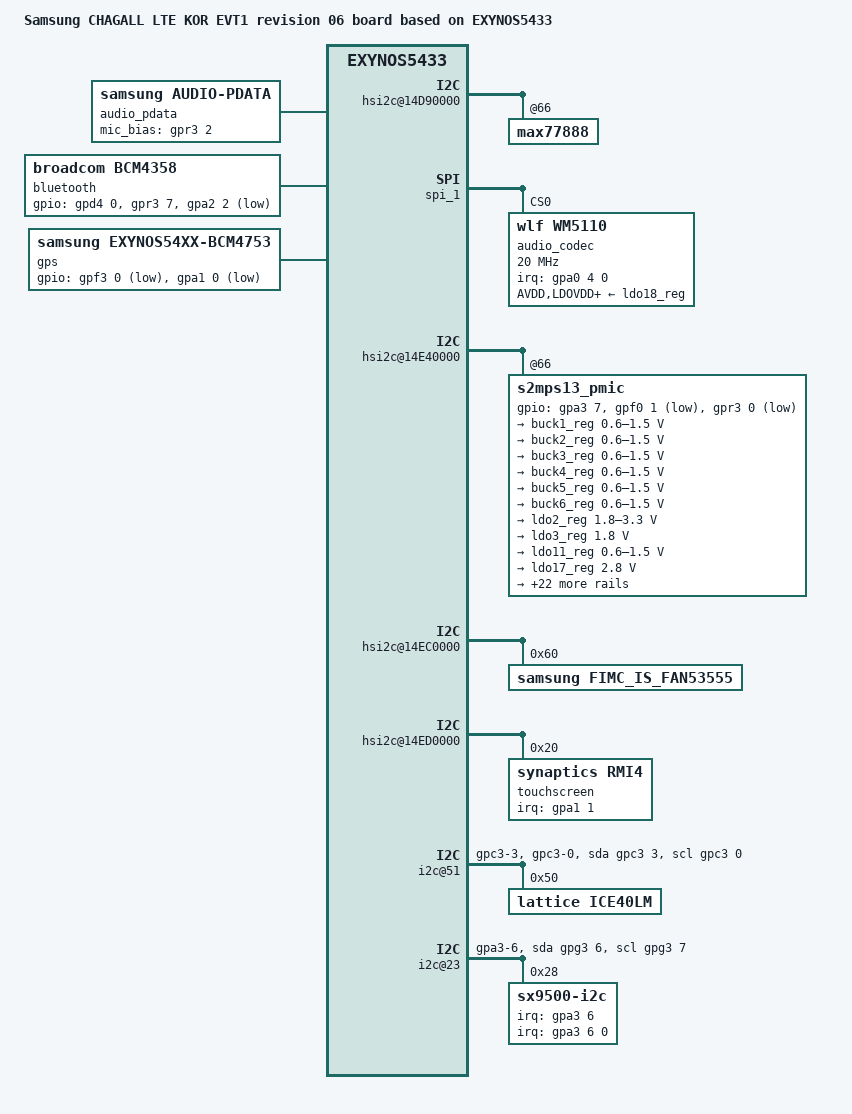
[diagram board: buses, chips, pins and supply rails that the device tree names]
/*
 * SAMSUNG UNIVERSAL5433 board device tree source
 *
 * Copyright (c) 2013 Samsung Electronics Co., Ltd.
 *		http://www.samsung.com
 *
 * This program is free software; you can redistribute it and/or modify
 * it under the terms of the GNU General Public License version 2 as
 * published by the Free Software Foundation.
*/
/dts-v1/;
#include "exynos5433-chagallhlte_common.dtsi"
#include "exynos5433-chagallhlte_battery.dtsi"
#include "exynos5433-chagallhlte_mhl2x.dtsi"
#include "exynos5433-chagallhlte_kor_gpio_06.dtsi"
#include "exynos5433-chagallhlte_kor-modem-ss300_00.dtsi"
#include "exynos5433-chagallhlte_fingerprint-sensor_00.dtsi"

/ {
	model = "Samsung CHAGALL LTE KOR EVT1 revision 06 board based on EXYNOS5433";
	model_info-chip = <5433>;
	model_info-platform = "trlte";
	model_info-subtype = "trlte_kor_open";
	model_info-hw_rev = <6>;
	model_info-hw_rev_end = <255>;
	compatible = "samsung,CHAGALL LTE EVT1 KOR,r06", "samsung,exynos5433";

	hsi2c@14D90000 {
		status = "okay";
		max77888@66 {
			status = "okay";
		};
	};

	spi_1: spi@14d30000 {
		/delete-property/ dma-mode;
		/delete-property/ dmas;
		/delete-property/ dma-names;
		#address-cells = <1>;
		#size-cells = <0>;
		pinctrl-names = "default";
		pinctrl-0 = <&spi1_bus>;

		audio_codec: wm5110@0 {
			compatible = "wlf,wm5110";
			reg = <0x0>;
			spi-max-frequency = <20000000>;
			interrupts = <4 0 0>;
			interrupt-parent = <&gpa0>;

			gpio-controller;
			#gpio-cells = <2>;

			pinctrl-names ="default";
			pinctrl-0 = <&codec_reset &codec_ldoena &audio_ctrl &codec_irq>;

			wlf,reset = <&gpc0 7 0>;
			wlf,ldoena = <&gpf0 0 0>;
			wlf,init-mic-delay = <30>;
			wlf,micd-detect-debounce = <300>;
			wlf,micd-pol-gpio = <0>;
			wlf,micd-bias-start-time = <0x1>;
			wlf,micd-rate = <0x7>;
			wlf,micd-dbtime = <0x1>;
			wlf,micd-timeout = <1000>;
			wlf,micd-force-micbias;
			wlf,hpdet-moisture-imp = <2000>;
			wlf,hpdet-channel = <1>;
			wlf,hpdet-ext-res = <56>;
			wlf,hpdet-short-circuit-imp = <3>;
			wlf,micd-ranges = <
				139 226
				295 115
				752 114
				1257 217
			>;

			wlf,micd-configs = <
				0x0 1 0
			>;

			wlf,micbias1 = <2800 0 1 0 0>;
			wlf,micbias2 = <1800 0 1 0 0>;
			wlf,micbias3 = <1800 0 1 0 0>;

			wlf,gpio-defaults = <
				0xA101
				0xA101
				0xA101
				0xA101
				0x8101
			>;

			wlf,gpsw = <0x3>;
			wlf,use-jd-gpio;
			wlf,jd-gpio-nopull;
			wlf,micd-software-compare;
			wlf,micd-open-circuit-declare = <1>;
			wlf,jd-wake-time = <5000>;

			wlf,max-channels-clocked = <2 0 0>;
			/* 0:MICVDD 1:MICBIAS1 2:MICBIAS2 3:MICBIAS3 */
			wlf,dmic-ref = <0 1 3 0>;
			/* 1st cell:IN1 2rd cell:IN2 3nd cell:IN3 4th cell:IN4 */
			wlf,inmode = <0 0 0 0>;
			/* 1st cell:OUT1 2nd cell:OUT2 3rd cell:OUT3... 6th cell:OUT6 */
			wlf,out-mono = <0 0 1 0 0 0>;

			AVDD-supply = <&ldo18_reg>;
			LDOVDD-supply = <&ldo18_reg>;
			DBVDD1-supply = <&ldo18_reg>;

			CPVDD-supply = <&ldo18_reg>;
			DBVDD2-supply = <&ldo18_reg>;
			DBVDD3-supply = <&ldo18_reg>;
			SPKVDDL-supply = <&ldo18_reg>;
			SPKVDDR-supply = <&ldo18_reg>;

			adsps {
				#address-cells = <1>;
				#size-cells = <0>;

				adsp@1100 {
					reg = <0x1100>;
					firmware {
						EDAC {
							wlf,wmfw-file = "edac";
							wlf,bin-file = "edac";
						};
						TRACE {
							wlf,wmfw-file = "trace";
							wlf,bin-file = "None";
							wlf,compr-caps = <1 8 0x4 1 8000 16000 24000>;
						};
					};
				};
				adsp@1200 {
					reg = <0x1200>;
					firmware {
						TX_NB {
							wlf,wmfw-file = "tx-nb";
							wlf,bin-file = "None";
						};
						TX_WB {
							wlf,wmfw-file = "tx-wb";
							wlf,bin-file = "None";
						};
						TX_SWB_INTERVIEW {
							wlf,wmfw-file = "tx-swb";
							wlf,bin-file = "None";
						};
						TX_SWB_CONVERSATION {
							wlf,wmfw-file = "tx-swb";
							wlf,bin-file = "None";
						};
						TX_FB_MEETING {
							wlf,wmfw-file = "tx-fb-meeting";
							wlf,bin-file = "tx-fb-meeting";
						};
					};
				};
				adsp@1300 {
					reg = <0x1300>;
					firmware {
						TX_NB {
							wlf,wmfw-file = "tx-nb";
							wlf,bin-file = "tx-nb";
						};
						TX_WB {
							wlf,wmfw-file = "tx-wb";
							wlf,bin-file = "tx-wb";
						};
						TX_SWB_INTERVIEW {
							wlf,wmfw-file = "tx-swb";
							wlf,bin-file = "tx-swb-interview";
						};
						TX_SWB_CONVERSATION {
							wlf,wmfw-file = "tx-swb";
							wlf,bin-file = "tx-swb-conversation";
						};
						TX_WB_MEETING {
							wlf,wmfw-file = "tx-wb-meeting";
							wlf,bin-file = "tx-wb-meeting";
						};

						VOICECONTROL {
							wlf,wmfw-file = "ez2-control";
							wlf,bin-file = "ez2-control";
							wlf,compr-caps = <1 1 0x4 1 16000>;
						};
						LPSD {
							wlf,wmfw-file = "ez2-control";
							wlf,bin-file = "lpsd-control";
						};
					};
				};
				adsp@1400 {
					reg = <0x1400>;
					firmware {
						DSM {
							wlf,wmfw-file = "dsm";
							wlf,bin-file = "None";
						};
						RX_NB {
							wlf,wmfw-file = "rx-anc-nb";
							wlf,bin-file = "rx-anc-nb";
						};
						RX_WB {
							wlf,wmfw-file = "rx-anc-wb";
							wlf,bin-file = "rx-anc-wb";
						};
					};
				};
			};
			controller-data {
				cs-gpio = <&gpd6 3 0>;
				samsung,spi-feedback-delay = <0>;
			};
		};
	};

	audio_pdata {
		compatible = "samsung,audio-pdata";

		mic_bias_gpio = <&gpr3 2 0>;
		status = "okay";
	};

	pinctrl@11090000 {
		codec_ldoena: codec-ldoena {
			samsung,pins ="gpf0-0";
			samsung,pin-con-pdn =<3>;
		};
	};

	pinctrl@14CC0000 {
		codec_reset: codec-reset {
			samsung,pins ="gpc0-7";
			samsung,pin-function = <1>;
			samsung,pin-pud = <1>;
			samsung,pin-con-pdn =<3>;
			samsung,pin-pud-pdn = <1>;
		};
		audio_ctrl: audio-ctl {
			samsung,pins ="gpr3-2";
			samsung,pin-con-pdn =<3>;
		};
	};

	pinctrl@10580000 {
		codec_irq: codec-irq {
			samsung,pins = "gpa0-4";
			samsung,pin-pud = <0>;
		};
	};

	pinctrl@114B0000 {
		uart_aud_rts: uart-aud-rts {
			samsung,pins = "gpz1-3";
			samsung,pin-function = <2>;
			samsung,pin-pud = <0>;
			samsung,pin-con-pdn = <1>;
			samsung,pin-pud-pdn = <0>;
		};

		uart_aud_cts: uart-aud-cts {
			samsung,pins = "gpz1-2";
			samsung,pin-function = <2>;
			samsung,pin-pud = <0>;
			samsung,pin-con-pdn = <2>;
			samsung,pin-pud-pdn = <0>;
		};

		uart_aud_rx: uart-aud-rx {
			samsung,pins = "gpz1-1";
			samsung,pin-function = <2>;
			samsung,pin-pud = <0>;
			samsung,pin-con-pdn = <2>;
			samsung,pin-pud-pdn = <0>;
		};

		uart_aud_tx: uart-aud-tx {
			samsung,pins = "gpz1-0";
			samsung,pin-function = <2>;
			samsung,pin-pud = <0>;
			samsung,pin-con-pdn = <1>;
			samsung,pin-pud-pdn = <0>;
		};
	};

	serial@11460000 {
		pinctrl-0 = <&uart_aud_rts &uart_aud_cts &uart_aud_rx &uart_aud_tx>;
		pinctrl-1 = <&uart_aud_rx &uart_aud_tx &uart_aud_bus_idle>;
	};

	pinctrl@14CC0000 {
		cfg_en: cfg-en {
			samsung,pins ="gpd4-0";
			samsung,pin-function = <1>;
			samsung,pin-pud = <1>;
			samsung,pin-con-pdn = <3>;
			samsung,pin-pud-pdn = <1>;
		};
	};

	pinctrl@10580000{
		cfg_hostwake: cfg-hostwake {
			samsung,pins = "gpa2-2";
			samsung,pin-function = <0>;
			samsung,pin-pud = <0>;
			samsung,pin-con-pdn = <2>;
			samsung,pin-pud-pdn = <0>;
		};
	};

	pinctrl@15690000{
		cfg_btwake: cfg-btwake {
			samsung,pins = "gpr3-7";
			samsung,pin-function = <1>;
			samsung,pin-pud = <0>;
			samsung,pin-con-pdn = <0>;
			samsung,pin-pud-pdn = <1>;
		};
	};

	bluetooth {
		compatible = "broadcom,bcm4358";

		gpios = <&gpd4 0 0	/*BT_EN*/
				&gpr3 7 0	/*BT_WAKE*/
				&gpa2 2 0xF	/*BT_HOST_WAKE*/ >;

		pinctrl-names = "default";
		pinctrl-0=<&cfg_hostwake &cfg_btwake &cfg_en>;
		status = "okay";
	};

	pinctrl@14CC0000 {
		hs_i2c2_bus: hs-i2c2-bus {
			/delete-property/samsung,pins;
			/delete-property/samsung,pin-function;
			/delete-property/samsung,pin-pud;
			/delete-property/samsung,pin-drv;
		};

		uart0_rts: uart0-rts {
			samsung,pins = "gpd0-3";
			samsung,pin-function = <2>;
			samsung,pin-pud = <0>;
			samsung,pin-con-pdn = <1>;
			samsung,pin-pud-pdn = <0>;
		};

		uart0_cts: uart0-cts {
			samsung,pins = "gpd0-2";
			samsung,pin-function = <2>;
			samsung,pin-pud = <0>;
			samsung,pin-con-pdn = <2>;
			samsung,pin-pud-pdn = <1>;
		};

		uart0_tx: uart0-tx {
			samsung,pins = "gpd0-1";
			samsung,pin-function = <2>;
			samsung,pin-pud = <0>;
			samsung,pin-con-pdn = <2>;
			samsung,pin-pud-pdn = <3>;
		};

		uart0_rx: uart0-rx {
			samsung,pins = "gpd0-0";
			samsung,pin-function = <2>;
			samsung,pin-pud = <3>;
			samsung,pin-con-pdn = <2>;
			samsung,pin-pud-pdn = <3>;
		};
	};

	serial@14C10000 {
		pinctrl-0 = <&uart0_rts &uart0_cts &uart0_tx &uart0_rx>;
	};

	gps {
		compatible = "samsung,exynos54xx-bcm4753";
		gpios = <&gpf3 0 0x1
				&gpa1 0 0xf
				>;
		status = "okay";
	};

	pinctrl@15690000 {
		pm_dvs_en: pm-dvs-en {
			samsung,pins = "gpr3-0";
			samsung,pin-pud = <0>;
		};
	};

	pinctrl@11090000 {
		pm_g3d_en: pm-g3d-en {
			samsung,pins = "gpf0-1";
			samsung,pin-pud = <3>;
		};
	};

	hsi2c@14E40000 {
		s2mps13_pmic@66 {
			pinctrl-names = "default";
			pinctrl-0 = <&pm_g3d_en &pm_dvs_en &pmic_irq &pm_wrsti &gpa3_pull_up>;
			gpios = <&gpa3 7 0>, <&gpf0 1 0x1>, <&gpr3 0 0x1>;
			g3d_en = <1>; /* 1 : enable , 0 : disable */
			regulators {
				buck1_reg: BUCK1 {
					regulator-name = "vdd_mif";
					regulator-min-microvolt = <600000>;
					regulator-max-microvolt = <1500000>;
					regulator-always-on;
					regulator-boot-on;
					regulator-ramp-delay = <12000>;
					regulator-initial-mode = <1>;
				};

				buck2_reg: BUCK2 {
					regulator-name = "vdd_eagle";
					regulator-min-microvolt = <600000>;
					regulator-max-microvolt = <1500000>;
					regulator-always-on;
					regulator-boot-on;
					regulator-ramp-delay = <12000>;
					regulator-initial-mode = <1>;
				};

				buck3_reg: BUCK3 {
					regulator-name = "vdd_kfc";
					regulator-min-microvolt = <600000>;
					regulator-max-microvolt = <1500000>;
					regulator-always-on;
					regulator-boot-on;
					regulator-ramp-delay = <12000>;
					regulator-initial-mode = <1>;
				};

				buck4_reg: BUCK4 {
					regulator-name = "vdd_int";
					regulator-min-microvolt = <600000>;
					regulator-max-microvolt = <1500000>;
					regulator-always-on;
					regulator-boot-on;
					regulator-ramp-delay = <12000>;
					regulator-initial-mode = <1>;
				};

				buck5_reg: BUCK5 {
					regulator-name = "vdd_disp_cam0";
					regulator-min-microvolt = <600000>;
					regulator-max-microvolt = <1500000>;
					regulator-always-on;
					regulator-boot-on;
					regulator-ramp-delay = <12000>;
					regulator-initial-mode = <1>;
				};

				buck6_reg: BUCK6 {
					regulator-name = "vdd_g3d";
					regulator-min-microvolt = <600000>;
					regulator-max-microvolt = <1500000>;
					regulator-always-on;
					regulator-boot-on;
					regulator-ramp-delay = <12000>;
					regulator-initial-mode = <1>;
				};

				ldo2_reg: LDO2 {
					regulator-name = "vqmmc";
					regulator-min-microvolt = <1800000>;
					regulator-max-microvolt = <3300000>;
					regulator-boot-on;
					regulator-ramp-delay = <12000>;
					regulator-initial-mode = <1>;
				};

				ldo3_reg: LDO3 {
					regulator-name = "VDD1_E_1.8V_AP";
					regulator-min-microvolt = <1800000>;
					regulator-max-microvolt = <1800000>;
					regulator-always-on;
				};

				ldo11_reg: LDO11 {
					regulator-name = "vdd_int_m";
					regulator-min-microvolt = <600000>;
					regulator-max-microvolt = <1500000>;
					regulator-always-on;
					regulator-boot-on;
					regulator-ramp-delay = <12000>;
					regulator-initial-mode = <1>;
				};

				ldo17_reg: LDO17 {
					regulator-name = "vmmc";
 					regulator-min-microvolt = <2800000>;
 					regulator-max-microvolt = <2800000>;
 				};

				ldo18_reg: LDO18 {
					regulator-name = "V_CODEC_1.8V_AP";
					regulator-min-microvolt = <1800000>;
					regulator-max-microvolt = <1800000>;
					regulator-always-on;
					regulator-initial-mode = <3>;
				};

				ldo19_reg: LDO19 {
					regulator-name = "VCC_1.8V_LCD_AP";
					regulator-min-microvolt = <1800000>;
					regulator-max-microvolt = <1800000>;
				};

				ldo20_reg: LDO20 {
					regulator-name = "VCC_2.8V_PERI";
					regulator-min-microvolt = <2800000>;
					regulator-max-microvolt = <2800000>;
					regulator-always-on;
					regulator-initial-mode = <3>;
				};

				ldo21_reg: LDO21 {
					regulator-name = "VT_CAM_1.8V";
					regulator-min-microvolt = <1800000>;
					regulator-max-microvolt = <1800000>;
				};

				ldo22_reg: LDO22 {
					regulator-name = "CAM_IO_1.8V_AP";
					regulator-min-microvolt = <1800000>;
					regulator-max-microvolt = <1800000>;
				};

				ldo23_reg: LDO23 {
					regulator-name = "CAM_SEN_CORE_1.2V_AP";
					regulator-min-microvolt = <1100000>;
					regulator-max-microvolt = <1100000>;
				};

				ldo24_reg: LDO24 {
					regulator-name = "VT_CAM_1.2V";
					regulator-min-microvolt = <1200000>;
					regulator-max-microvolt = <1200000>;
				};

				ldo25_reg: LDO25 {
					regulator-name = "CAM_SEN_A2.8V_AP";
					regulator-min-microvolt = <2800000>;
					regulator-max-microvolt = <2950000>;
				};

				ldo26_reg: LDO26 {
					regulator-name = "CAM_AF_2.8V_AP";
					regulator-min-microvolt = <2800000>;
					regulator-max-microvolt = <2800000>;
				};

				ldo27_reg: LDO27 {
					regulator-name = "VCC_3.0V_LCD_AP";
					regulator-min-microvolt = <3000000>;
					regulator-max-microvolt = <3000000>;
					regulator-boot-on;
				};

				ldo28_reg: LDO28 {
					regulator-name = "VCC_1.8V_COMP";
					regulator-min-microvolt = <1800000>;
					regulator-max-microvolt = <1800000>;
					regulator-always-on;
				};

				ldo29_reg: LDO29 {
					regulator-name = "VT_CAM_2.8V";
					regulator-min-microvolt = <2800000>;
					regulator-max-microvolt = <2800000>;
				};

				ldo30_reg: LDO30 {
					regulator-name = "tsp_avdd";
					regulator-min-microvolt = <3300000>;
					regulator-max-microvolt = <3300000>;
					regulator-boot-on;
				};

				ldo31_reg: LDO31 {
					regulator-name = "tsp_io";
					regulator-min-microvolt = <1850000>;
					regulator-max-microvolt = <1850000>;
					regulator-boot-on;
				};

				ldo32_reg: LDO32 {
					regulator-name = "vtouch_1.8v";
					regulator-min-microvolt = <1800000>;
					regulator-max-microvolt = <1800000>;
					regulator-boot-on;
				};

				ldo33_reg: LDO33 {
					regulator-name = "vtouch_3.3v";
					regulator-min-microvolt = <3300000>;
					regulator-max-microvolt = <3300000>;
					regulator-boot-on;
				};

				ldo34_reg: LDO34 {
					regulator-name = "VCC_1.8V_MHL";
					regulator-min-microvolt = <1800000>;
					regulator-max-microvolt = <1800000>;
				};

				ldo35_reg: LDO35 {
					regulator-name = "OIS_VM_2.8V";
					regulator-min-microvolt = <2800000>;
					regulator-max-microvolt = <2800000>;
				};

				ldo36_reg: LDO36 {
					regulator-name = "VSIL_1.2V";
					regulator-min-microvolt = <1200000>;
					regulator-max-microvolt = <1200000>;
				};

				ldo38_reg: LDO38 {
					regulator-name = "VCC_3.0V_MOTOR_AP";
					regulator-min-microvolt = <3000000>;
					regulator-max-microvolt = <3000000>;
				};

				ldo39_reg: LDO39 {
					regulator-name = "VCC_1.8V_PERI";
					regulator-min-microvolt = <1800000>;
					regulator-max-microvolt = <1800000>;
					regulator-always-on;
					regulator-initial-mode = <3>;
				};

				ldo40_reg: LDO40 {
					regulator-name = "V_IRLED_3.3V";
					regulator-min-microvolt = <3300000>;
					regulator-max-microvolt = <3350000>;
				};
			};
		};
	};

	hsi2c@14EC0000 {
		fimc_is_fan53555@60 {
			compatible = "samsung,fimc_is_fan53555";
			reg = <0x60>;
			comp_en = <&gpf1 7 0x01>;
			status = "okay";
		};
		ncp6335b@1c {
			status = "disabled";
		};
	};

	pinctrl@14CC0000 {
		vibetonz_pwm: vibetonz-pwm {
		      samsung,pins = "gpd2-4";
		      samsung,pin-function = <2>;
		      samsung,pin-pud = <0>;
		      samsung,pin-drv = <0>;
		};
	};

	dwmmc1@15550000 {
		status = "disabled";
	};

	pinctrl@10580000 {
		attn_irq: attn-irq {
			samsung,pins = "gpa1-1";
			samsung,pin-function = <0xf>;
			samsung,pin-pud = <0>;
			samsung,pin-drv = <0>;
		};

		attn_input: attn-input {
			samsung,pins = "gpa1-1";
			samsung,pin-function = <0>;
			samsung,pin-pud = <1>;
			samsung,pin-drv = <0>;
		};
	};

	hsi2c@14ED0000 {
		samsung,i2c-sda-delay = <100>;
		samsung,i2c-max-bus-freq = <400000>;
		status = "okay";
		touchscreen@20 {
			compatible = "synaptics,rmi4";
			reg = <0x20>;
			pinctrl-names = "on_state", "off_state";
			pinctrl-0 = <&attn_irq>;
			pinctrl-1 = <&attn_input>;
			synaptics,irq_gpio = <&gpa1 1 0>;
			synaptics,irq_type = <8200>;
			synaptics,max_coords = <2559 1599>;	/* x y */
			synaptics,num_lines = <57 36>;		/* rx tx */
			synaptics,x_flip = <1>;
			synaptics,y_flip = <1>;
			synaptics,regulator_dvdd = "tsp_io";
			synaptics,regulator_avdd = "tsp_avdd";
			synaptics,project_name = "CHAGALL","T805S";
			synaptics,panel_revision = <1>;
			synaptics,firmware_name = "tsp_synaptics/synaptics_5710_chagall.fw";
		};
	};

	pinctrl@14CC0000 {
		irda_sda: fpga_sda {
			samsung,pins = "gpc3-3";
			samsung,pin-funtion = <0>;
			samsung,pin-pud = <0>;
		};
		irda_scl: fpga_scl {
			samsung,pins = "gpc3-0";
			samsung,pin-funtion = <0>;
			samsung,pin-pud = <0>;
		};
	};

	pinctrl@14CB0000 {
		spi2_bus: spi2-bus {
			samsung,pins = "gpd5-0", "gpd5-2", "gpd5-3";
			samsung,pin-function = <2>;
			samsung,pin-pud = <3>;
			samsung,pin-drv = <1>;
		};
	};

	i2c@51 {
		compatible = "i2c-gpio";
		gpios = <&gpc3 3 0 /* sda */
			&gpc3 0 0 /* scl */
			>;
		i2c-gpio,delay-us = <2>;
		#address-cells = <1>;
		#size-cells = <0>;
		status = "okay";
		pinctrl-names = "default";
		pinctrl-0 = <&irda_sda &irda_scl>;
		ice40lm@50 {
			compatible = "lattice,ice40lm";
			reg = <0x50>;
			ice40lm,creset_b = <&gpc1 1 0>;
			ice40lm,cdone = <&gpj1 2 0>;
			ice40lm,irda_irq = <&gpf0 4 0>;
			ice40lm,spi_si_sda = <&gpc3 3 0>;
			ice40lm,spi_clk_scl = <&gpc3 0 0>;
			ice40lm,spi_en_rstn = <&gpc3 1 0>;
			ice40lm,ir_en = <&gpr3 3 0>;
			ice40lm,power = "LDO";
			clocks = <&clock 4300>;
			clock-names = "clk_out";
		};
	};
	pinctrl@10580000 {
		grip_det: grip_det {
			samsung,pins = "gpa3-6";
			samsung,pin-function = <0xf>;
			samsung,pin-pud = <0>;
		};
	};
	i2c@23 {
		cell-index = <23>;
		compatible = "i2c-gpio";
		gpios = <&gpg3 6 0 /* sda */
			&gpg3 7 0 /* scl */
		>;
		#address-cells = <1>;
		#size-cells = <0>;
		status = "okay";
		pinctrl-names = "default";
		pinctrl-0 = <&grip_det>;
		sx9500-i2c@28 {
			compatible = "sx9500-i2c";
			reg = <0x28>;
			interrupt-parent = <&gpa3>;
			interrupts = <6 0 0>;
			sx9500-i2c,irq-gpio = <&gpa3 6 0x00>;
		};
	};
};
